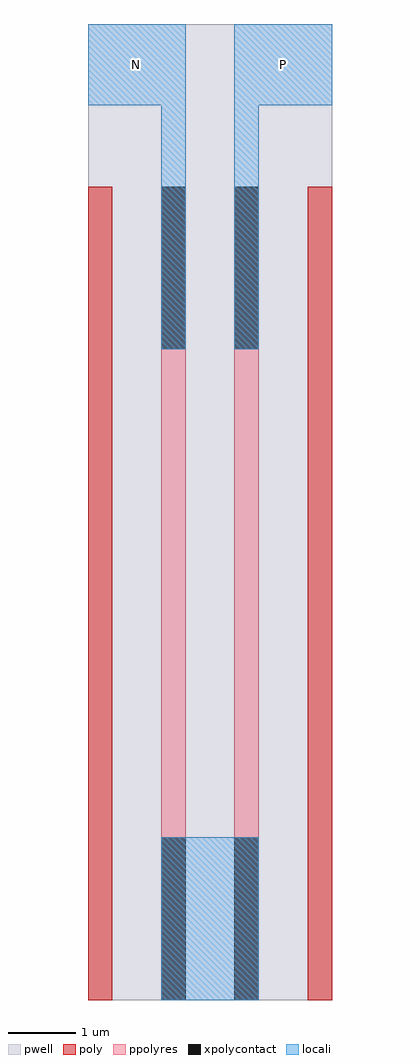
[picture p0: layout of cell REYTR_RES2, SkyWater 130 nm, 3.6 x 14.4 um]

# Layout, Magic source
magic
tech sky130A
magscale 1 2
<< ppolyres >>
rect 180 -120 252 120
rect 396 -120 468 120
rect 180 120 252 360
rect 396 120 468 360
rect 180 360 252 600
rect 396 360 468 600
rect 180 600 252 840
rect 396 600 468 840
rect 180 840 252 1080
rect 396 840 468 1080
rect 180 1080 252 1320
rect 396 1080 468 1320
rect 180 1320 252 1560
rect 396 1320 468 1560
rect 180 1560 252 1800
rect 396 1560 468 1800
rect 180 1800 252 2040
rect 396 1800 468 2040
rect 180 2040 252 2280
rect 396 2040 468 2280
<< poly >>
rect -36 -120 36 120
rect 612 -120 684 120
rect -36 120 36 360
rect 612 120 684 360
rect -36 360 36 600
rect 612 360 684 600
rect -36 600 36 840
rect 612 600 684 840
rect -36 840 36 1080
rect 612 840 684 1080
rect -36 1080 36 1320
rect 612 1080 684 1320
rect -36 1320 36 1560
rect 612 1320 684 1560
rect -36 1560 36 1800
rect 612 1560 684 1800
rect -36 1800 36 2040
rect 612 1800 684 2040
rect -36 2040 36 2280
rect 612 2040 684 2280
<< xpolycontact >>
rect 180 -120 252 120
rect 396 -120 468 120
rect 180 120 252 360
rect 396 120 468 360
rect 180 1800 252 2040
rect 396 1800 468 2040
rect 180 2040 252 2280
rect 396 2040 468 2280
<< locali >>
rect 180 -120 468 120
rect 180 120 468 360
rect 180 1800 252 2040
rect 396 1800 468 2040
rect 180 2040 252 2280
rect 396 2040 468 2280
rect 180 2280 252 2520
rect 396 2280 468 2520
rect -36 2520 252 2760
rect -36 2520 252 2760
rect 396 2520 684 2760
rect 396 2520 684 2760
<< pwell >>
rect -36 -120 684 2760
<< labels >>
flabel locali s -36 2520 252 2760 0 FreeSans 400 0 0 0 N
port 1 nsew signal bidirectional
flabel locali s 396 2520 684 2760 0 FreeSans 400 0 0 0 P
port 2 nsew signal bidirectional
<< properties >>
string FIXED_BBOX 0 0 648 2640
<< end >>
